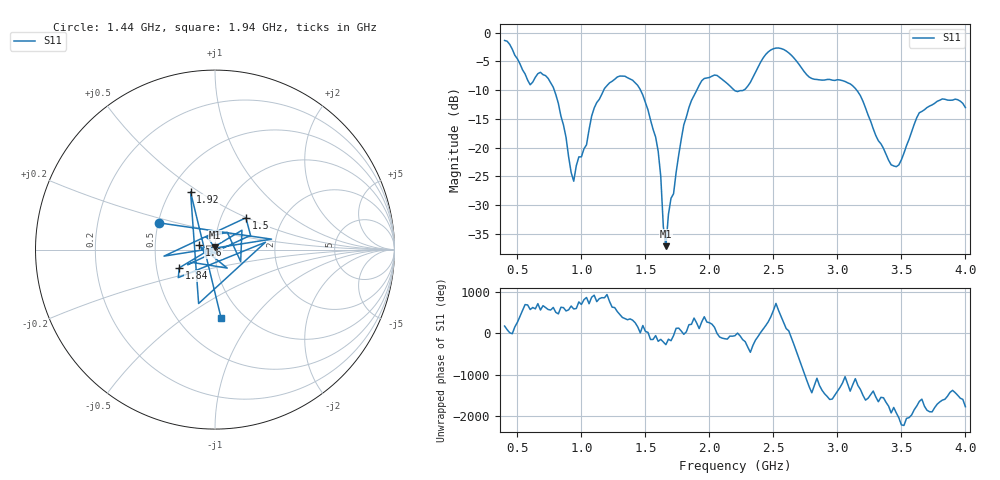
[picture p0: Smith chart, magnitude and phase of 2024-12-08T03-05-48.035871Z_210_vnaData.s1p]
!Created with skrf (http://scikit-rf.org).
# Hz S RI R 50.0
!freq ReS11 ImS11
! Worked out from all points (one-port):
!   181 points, 400 MHz to 4 GHz, reference 50 ohm
!   lowest |S11| = -37.2 dB at 1.66 GHz (marker M1), VSWR 1.03, Z = 50.1 + j1.38 ohm
!   |S11| at or under -10 dB: 788.1 MHz to 1.174 GHz (386 MHz wide, 39.3 % of centre); 1.462 GHz to 1.901 GHz (439.1 MHz wide, 26.1 % of centre); 3.151 GHz to end of sweep (the widest 3 of 4)
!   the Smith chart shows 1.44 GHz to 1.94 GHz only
!   S11 on the Smith chart (normalised r, x): 1.44 GHz: 0.50, +0.17; 1.5 GHz: 1.31, +0.49; 1.6 GHz: 0.83, +0.04; 1.84 GHz: 0.66, -0.14; 1.92 GHz: 0.63, +0.46; 1.94 GHz: 0.79, -0.71
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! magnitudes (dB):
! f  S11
! 400 MHz  -1.3
! 600 MHz  -9.1
! 740 MHz  -7.9
! 860 MHz  -16.1
! 940 MHz  -25.8
! 1.1 GHz  -13.1
! 1.3 GHz  -7.5
! 1.44 GHz  -9.2
! 1.5 GHz  -12.1
! 1.6 GHz  -20.7
! 1.62 GHz  -25.0
! 1.64 GHz  -33.7
! 1.66 GHz  -37.2
! 1.68 GHz  -31.6
! 1.76 GHz  -21.3
! 1.84 GHz  -13.0
! 1.92 GHz  -9.1
! 1.94 GHz  -8.4
! 2.2 GHz  -10.1
! 2.48 GHz  -3.0
! 2.66 GHz  -4.4
! 2.8 GHz  -8.0
! 3.1 GHz  -8.9
! 3.42 GHz  -23.0
! 3.56 GHz  -18.5
! 3.64 GHz  -13.9
! 3.78 GHz  -11.9
! 4 GHz  -13.0
